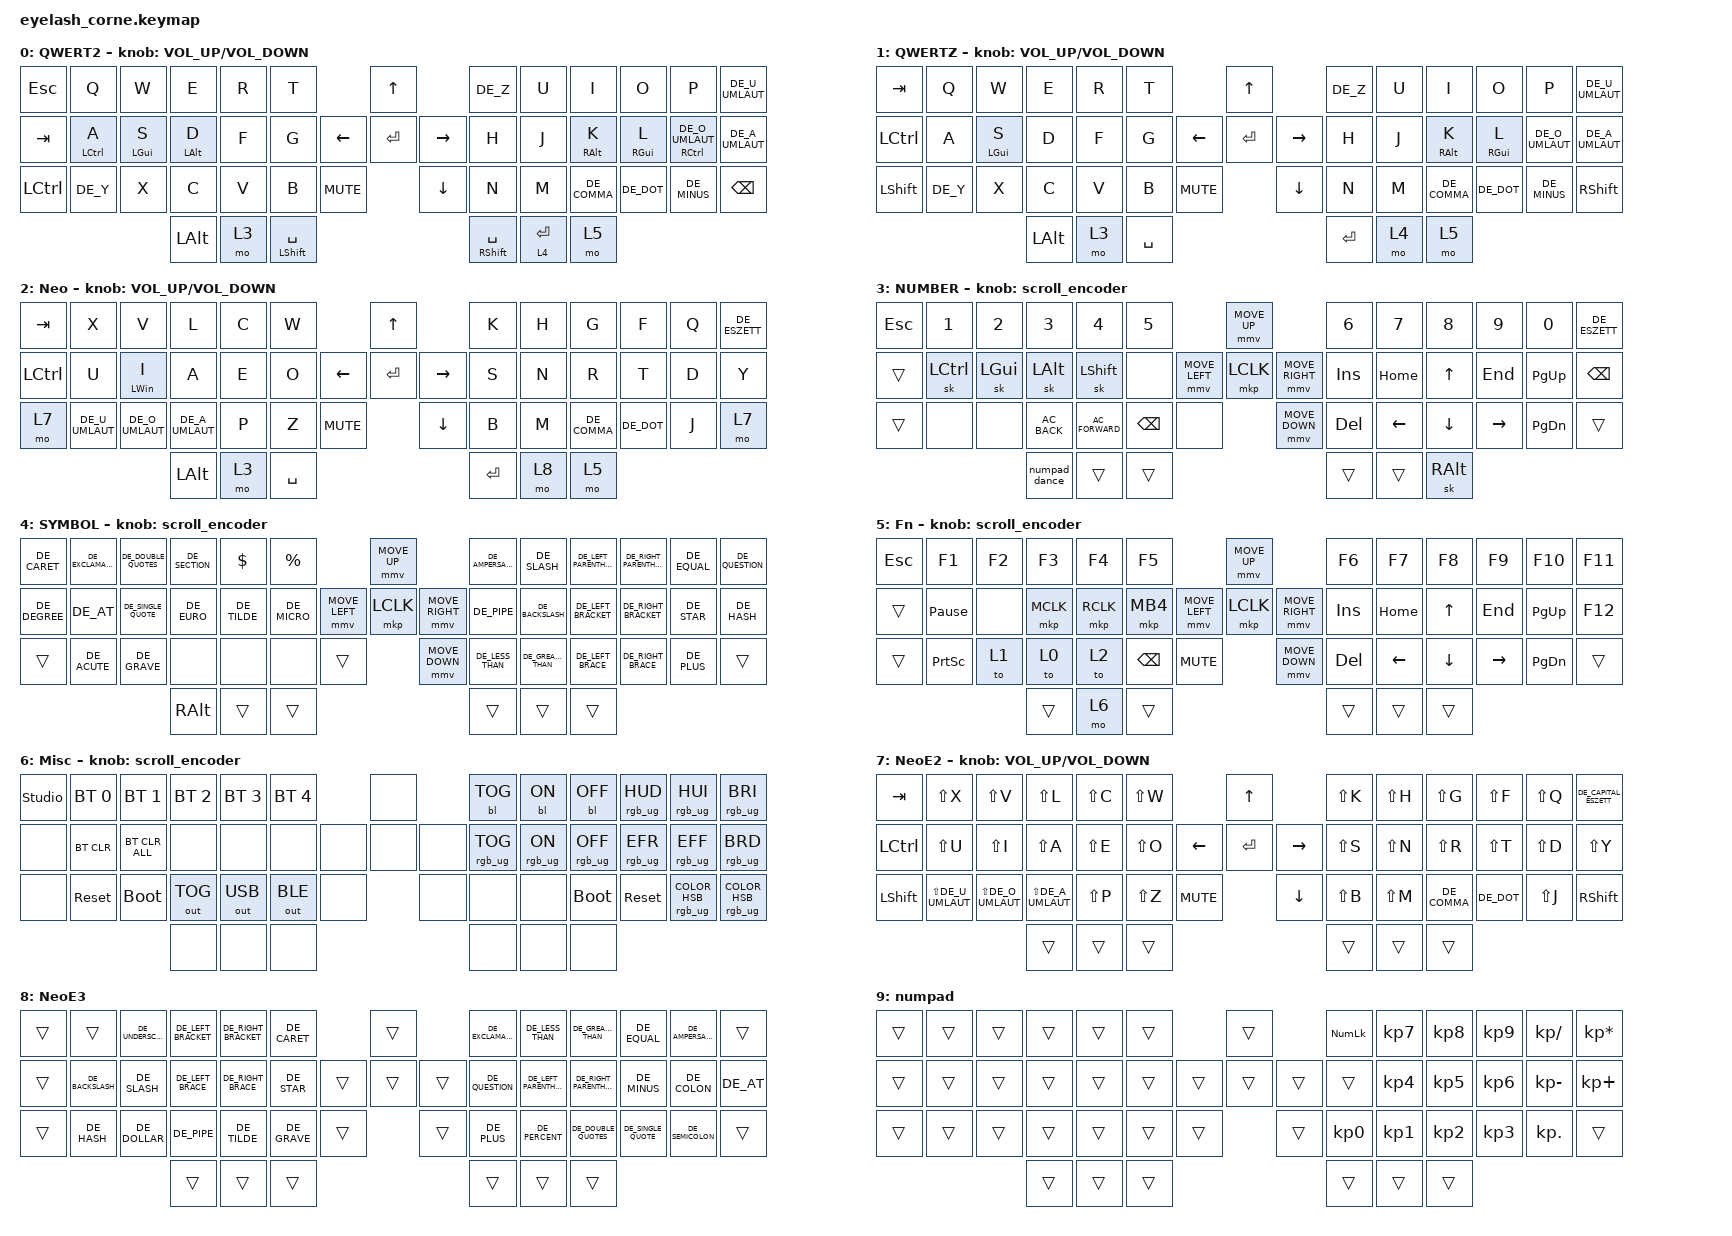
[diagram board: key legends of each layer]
#define ZMK_POINTING_DEFAULT_MOVE_VAL 1200  // 600
#define ZMK_POINTING_DEFAULT_SCRL_VAL 25   // 10

#include <input/processors.dtsi>
#include <zephyr/dt-bindings/input/input-event-codes.h>
#include <behaviors.dtsi>
#include <dt-bindings/zmk/backlight.h>
#include <dt-bindings/zmk/bt.h>
#include <dt-bindings/zmk/keys.h>
#include <dt-bindings/zmk/outputs.h>
#include <dt-bindings/zmk/pointing.h>
#include <dt-bindings/zmk/rgb.h>
#include "keys_de.h"

&mmv_input_listener { input-processors = <&zip_xy_scaler 2 1>; };

&msc_input_listener { input-processors = <&zip_scroll_scaler 2 1>; };

&msc {
    acceleration-exponent = <1>;      // 0
    time-to-max-speed-ms = <100>;       // 300
    delay-ms = <0>;                   // 0
};

&mmv {
    time-to-max-speed-ms = <500>;
    acceleration-exponent = <1>;
    trigger-period-ms = <16>;
};

&soft_off { hold-time-ms = <2000>; };

/ {
    behaviors {
        td0: td0 {
            compatible = "zmk,behavior-tap-dance";
            display-name = "Shift/Caps Lock Tap Dance";
            #binding-cells = <0>;
            bindings = <&kp LEFT_SHIFT>, <&kp CAPS>;
        };

        td_lalt_lgui: td_lalt_lgui {
            compatible = "zmk,behavior-tap-dance";
            display-name = "LALT LGUI Tap Dance";
            label = "TD_LALT_LGUI";
            #binding-cells = <0>;
            tapping-term-ms = <200>;          // Fenster für Doppeltipp
            bindings = <&kp LALT>, <&kp LGUI>;
        };

        // Linke Hand (A S D F …)

        hml: home_row_mod_left {
            compatible = "zmk,behavior-hold-tap";
            #binding-cells = <2>;
            flavor = "tap-preferred";
            tapping-term-ms = <300>;
            quick-tap-ms = <200>;
            require-prior-idle-ms = <125>;
            bindings = <&kp>, <&kp>;

            // Hier alle Key-Positions DER RECHTEN HAND eintragen:

            hold-trigger-key-positions = <15 14>;
            hold-trigger-on-release;
        };

        // Rechte Hand (J K L ; …)

        hmr: home_row_mod_right {
            compatible = "zmk,behavior-hold-tap";
            #binding-cells = <2>;
            flavor = "tap-preferred";
            tapping-term-ms = <300>;
            quick-tap-ms = <200>;
            require-prior-idle-ms = <125>;
            bindings = <&kp>, <&kp>;

            // Hier alle Key-Positions DER LINKEN HAND eintragen:

            hold-trigger-key-positions = <25 24 26>;
            hold-trigger-on-release;
        };

        kp_kp_hold_tap: kp_kp_hold_tap {
            compatible = "zmk,behavior-hold-tap";
            #binding-cells = <2>;
            flavor = "hold-preferred";
            tapping-term-ms = <300>;
            quick-tap-ms = <200>;
            require-prior-idle-ms = <125>;
            bindings = <&kp>, <&kp>;

            hold-trigger-on-release;
            label = "KP_KP_HOLD_TAP";
            hold-trigger-key-positions = <44 45>;
        };

        mo_kp_hold_tap: mo_kp_hold_tap {
            compatible = "zmk,behavior-hold-tap";
            #binding-cells = <2>;
            flavor = "tap-preferred";
            tapping-term-ms = <300>;
            quick-tap-ms = <200>;
            require-prior-idle-ms = <125>;
            bindings = <&mo>, <&kp>;

            hold-trigger-on-release;
            label = "MO_KP_HOLD_TAP";
            hold-trigger-key-positions = <46>;
        };

        numpad_dance: numpad_dance {
            compatible = "zmk,behavior-tap-dance";
            label = "NUMPAD_DANCE";
            #binding-cells = <0>;
            bindings = <&mo 9>, <&tog 9>;
        };
    };

    rgb_encoder: rgb_encoder {
        compatible = "zmk,behavior-sensor-rotate";
        #sensor-binding-cells = <0>;
        bindings = <&rgb_ug RGB_BRI>, <&rgb_ug RGB_BRD>;
    };

    scroll_encoder: scroll_encoder {
        compatible = "zmk,behavior-sensor-rotate";
        #sensor-binding-cells = <0>;
        bindings = <&msc SCRL_DOWN>, <&msc SCRL_UP>;

        tap-ms = <100>;
    };

    combos {
        compatible = "zmk,combos";

        softoff {
            bindings = <&soft_off>;
            key-positions = <1 15 29>;
        };

        esc {
            bindings = <&kp ESC>;
            key-positions = <0 1>;
            layers = <1 3 4 2 7 8>;
        };

        Semicolon {
            bindings = <&kp DE_SEMICOLON>;
            key-positions = <38 37>;
            layers = <1>;
        };

        Backspace {
            bindings = <&kp BACKSPACE>;
            key-positions = <11 12>;
            layers = <1 3 4 2 7 8>;
        };

        DoubleColon {
            bindings = <&kp DE_COLON>;
            key-positions = <39 38>;
            layers = <1>;
        };

        layer3 {
            bindings = <&sl 5>;
            key-positions = <43 44>;
            layers = <1>;
        };

        underscore {
            bindings = <&kp DE_UNDERSCORE>;
            key-positions = <39 40>;
            layers = <1>;
        };
    };

    keymap {
        compatible = "zmk,keymap";

        QWERTZ2 {
            label = "QWERTZ2";
            display-name = "QWERT2";
            bindings = <
&kp ESCAPE        &kp Q                &kp W            &kp E            &kp R  &kp T                                                     &kp UP                &kp DE_Z                           &kp U                    &kp I             &kp O             &kp P                           &kp DE_U_UMLAUT
&kp TAB           &hml LEFT_CONTROL A  &hml LEFT_GUI S  &hml LEFT_ALT D  &kp F  &kp G                                           &kp LEFT  &kp ENTER  &kp RIGHT  &kp H                              &kp J                    &hmr RIGHT_ALT K  &hmr RIGHT_GUI L  &hmr RIGHT_CONTROL DE_O_UMLAUT  &kp DE_A_UMLAUT
&kp LEFT_CONTROL  &kp DE_Y             &kp X            &kp C            &kp V  &kp B                             &kp C_MUTE              &kp DOWN              &kp N                              &kp M                    &kp DE_COMMA      &kp DE_DOT        &kp DE_MINUS                    &kp BACKSPACE
                                                        &kp LEFT_ALT     &mo 3  &kp_kp_hold_tap LEFT_SHIFT SPACE                                                &kp_kp_hold_tap RIGHT_SHIFT SPACE  &mo_kp_hold_tap 4 ENTER  &mo 5
            >;

            sensor-bindings = <&inc_dec_kp C_VOLUME_UP C_VOLUME_DOWN>;
        };

        QWERTZ {
            display-name = "QWERTZ";
            bindings = <
&kp TAB           &kp Q     &kp W            &kp E         &kp R  &kp T                              &kp UP                &kp DE_Z    &kp U  &kp I             &kp O             &kp P            &kp DE_U_UMLAUT
&kp LEFT_CONTROL  &kp A     &hml LEFT_GUI S  &kp D         &kp F  &kp G                    &kp LEFT  &kp ENTER  &kp RIGHT  &kp H       &kp J  &hmr RIGHT_ALT K  &hmr RIGHT_GUI L  &kp DE_O_UMLAUT  &kp DE_A_UMLAUT
&kp LEFT_SHIFT    &kp DE_Y  &kp X            &kp C         &kp V  &kp B      &kp C_MUTE              &kp DOWN              &kp N       &kp M  &kp DE_COMMA      &kp DE_DOT        &kp DE_MINUS     &kp RIGHT_SHIFT
                                             &kp LEFT_ALT  &mo 3  &kp SPACE                                                &kp RETURN  &mo 4  &mo 5
            >;

            sensor-bindings = <&inc_dec_kp C_VOLUME_UP C_VOLUME_DOWN>;
            label = "QWERTZ";
        };

        Neo {
            label = "Neo";
            display-name = "Neo";
            bindings = <
&kp TAB           &kp X            &kp V            &kp L            &kp C  &kp W                              &kp UP               &kp K       &kp H  &kp G         &kp F       &kp Q  &kp DE_ESZETT
&kp LEFT_CONTROL  &kp U            &hml LEFT_WIN I  &kp A            &kp E  &kp O                    &kp LEFT  &kp RET   &kp RIGHT  &kp S       &kp N  &kp R         &kp T       &kp D  &kp Y
&mo 7             &kp DE_U_UMLAUT  &kp DE_O_UMLAUT  &kp DE_A_UMLAUT  &kp P  &kp Z      &kp C_MUTE              &kp DOWN             &kp B       &kp M  &kp DE_COMMA  &kp DE_DOT  &kp J  &mo 7
                                                    &kp LEFT_ALT     &mo 3  &kp SPACE                                               &kp RETURN  &mo 8  &mo 5
            >;

            sensor-bindings = <&inc_dec_kp C_VOLUME_UP C_VOLUME_DOWN>;
        };

        winnum {
            display-name = "NUMBER";
            bindings = <
&kp ESCAPE  &kp N1            &kp N2    &kp N3         &kp N4            &kp N5                                  &mmv MOVE_UP                     &kp N6   &kp N7          &kp N8          &kp N9           &kp N0         &kp DE_ESZETT
&trans      &sk LEFT_CONTROL  &sk LGUI  &sk LEFT_ALT   &sk LEFT_SHIFT    &none                   &mmv MOVE_LEFT  &mkp LCLK       &mmv MOVE_RIGHT  &kp INS  &kp HOME        &kp UP_ARROW    &kp END          &kp PAGE_UP    &kp BACKSPACE
&trans      &none             &none     &kp C_AC_BACK  &kp C_AC_FORWARD  &kp BACKSPACE  &none                    &mmv MOVE_DOWN                   &kp DEL  &kp LEFT_ARROW  &kp DOWN_ARROW  &kp RIGHT_ARROW  &kp PAGE_DOWN  &trans
                                        &numpad_dance  &trans            &trans                                                                   &trans   &trans          &sk RIGHT_ALT
            >;

            sensor-bindings = <&scroll_encoder>;
            label = "Numbers";
        };

        winsym {
            display-name = "SYMBOL";
            bindings = <
&kp DE_CARET   &kp DE_EXCLAMATION  &kp DE_DOUBLE_QUOTES  &kp DE_SECTION  &kp DLLR      &kp PRCNT                               &mmv MOVE_UP                     &kp DE_AMPERSAND  &kp DE_SLASH         &kp DE_LEFT_PARENTHESIS  &kp DE_RIGHT_PARENTHESIS  &kp DE_EQUAL  &kp DE_QUESTION
&kp DE_DEGREE  &kp DE_AT           &kp DE_SINGLE_QUOTE   &kp DE_EURO     &kp DE_TILDE  &kp DE_MICRO            &mmv MOVE_LEFT  &mkp LCLK       &mmv MOVE_RIGHT  &kp DE_PIPE       &kp DE_BACKSLASH     &kp DE_LEFT_BRACKET      &kp DE_RIGHT_BRACKET      &kp DE_STAR   &kp DE_HASH
&trans         &kp DE_ACUTE        &kp DE_GRAVE          &none           &none         &none         &trans                    &mmv MOVE_DOWN                   &kp DE_LESS_THAN  &kp DE_GREATER_THAN  &kp DE_LEFT_BRACE        &kp DE_RIGHT_BRACE        &kp DE_PLUS   &trans
                                                         &kp RIGHT_ALT   &trans        &trans                                                                   &trans            &trans               &trans
            >;

            sensor-bindings = <&scroll_encoder>;
            label = "Symbols";
        };

        winfn {
            display-name = "Fn";
            bindings = <
&kp ESC  &kp F1           &kp F2  &kp F3     &kp F4     &kp F5                                       &mmv MOVE_UP                     &kp F6      &kp F7          &kp F8          &kp F9           &kp F10        &kp F11
&trans   &kp PAUSE_BREAK  &none   &mkp MCLK  &mkp RCLK  &mkp MB4                     &mmv MOVE_LEFT  &mkp LCLK       &mmv MOVE_RIGHT  &kp INSERT  &kp HOME        &kp UP_ARROW    &kp END          &kp PAGE_UP    &kp F12
&trans   &kp PRINTSCREEN  &to 1   &to 0      &to 2      &kp BACKSPACE  &kp C_MUTE                    &mmv MOVE_DOWN                   &kp DELETE  &kp LEFT_ARROW  &kp DOWN_ARROW  &kp RIGHT_ARROW  &kp PAGE_DOWN  &trans
                                  &trans     &mo 6      &trans                                                                        &trans      &trans          &trans
            >;

            sensor-bindings = <&scroll_encoder>;
        };

        Misc {
            display-name = "Misc";
            bindings = <
&studio_unlock  &bt BT_SEL 0  &bt BT_SEL 1    &bt BT_SEL 2  &bt BT_SEL 3  &bt BT_SEL 4                  &none         &bl BL_TOG       &bl BL_ON       &bl BL_OFF       &rgb_ug RGB_HUD  &rgb_ug RGB_HUI                   &rgb_ug RGB_BRI
&none           &bt BT_CLR    &bt BT_CLR_ALL  &none         &none         &none                  &none  &none  &none  &rgb_ug RGB_TOG  &rgb_ug RGB_ON  &rgb_ug RGB_OFF  &rgb_ug RGB_EFR  &rgb_ug RGB_EFF                   &rgb_ug RGB_BRD
&none           &sys_reset    &bootloader     &out OUT_TOG  &out OUT_USB  &out OUT_BLE  &none           &none         &none            &none           &bootloader      &sys_reset       &rgb_ug RGB_COLOR_HSB(231,38,46)  &rgb_ug RGB_COLOR_HSB(0,100,40)
                                              &none         &none         &none                                       &none            &none           &none
            >;

            sensor-bindings = <&scroll_encoder>;
            label = "Misc";
        };

        NeoE2 {
            label = "NeoE2";
            display-name = "NeoE2";
            bindings = <
&kp TAB           &kp LS(X)            &kp LS(V)            &kp LS(L)            &kp LS(C)  &kp LS(W)                          &kp UP               &kp LS(K)  &kp LS(H)  &kp LS(G)     &kp LS(F)   &kp LS(Q)  &kp DE_CAPITAL_ESZETT
&kp LEFT_CONTROL  &kp LS(U)            &kp LS(I)            &kp LS(A)            &kp LS(E)  &kp LS(O)                &kp LEFT  &kp RET   &kp RIGHT  &kp LS(S)  &kp LS(N)  &kp LS(R)     &kp LS(T)   &kp LS(D)  &kp LS(Y)
&kp LEFT_SHIFT    &kp LS(DE_U_UMLAUT)  &kp LS(DE_O_UMLAUT)  &kp LS(DE_A_UMLAUT)  &kp LS(P)  &kp LS(Z)  &kp C_MUTE              &kp DOWN             &kp LS(B)  &kp LS(M)  &kp DE_COMMA  &kp DE_DOT  &kp LS(J)  &kp RIGHT_SHIFT
                                                            &trans               &trans     &trans                                                  &trans     &trans     &trans
            >;

            sensor-bindings = <&inc_dec_kp C_VOLUME_UP C_VOLUME_DOWN>;
        };

        NeoE3 {
            label = "NeoE3";
            display-name = "NeoE3";
            bindings = <
&trans  &trans            &kp DE_UNDERSCORE  &kp DE_LEFT_BRACKET  &kp DE_RIGHT_BRACKET  &kp DE_CARET                    &trans          &kp DE_EXCLAMATION  &kp DE_LESS_THAN         &kp DE_GREATER_THAN       &kp DE_EQUAL         &kp DE_AMPERSAND  &trans
&trans  &kp DE_BACKSLASH  &kp DE_SLASH       &kp DE_LEFT_BRACE    &kp DE_RIGHT_BRACE    &kp DE_STAR             &trans  &trans  &trans  &kp DE_QUESTION     &kp DE_LEFT_PARENTHESIS  &kp DE_RIGHT_PARENTHESIS  &kp DE_MINUS         &kp DE_COLON      &kp DE_AT
&trans  &kp DE_HASH       &kp DE_DOLLAR      &kp DE_PIPE          &kp DE_TILDE          &kp DE_GRAVE  &trans            &trans          &kp DE_PLUS         &kp DE_PERCENT           &kp DE_DOUBLE_QUOTES      &kp DE_SINGLE_QUOTE  &kp DE_SEMICOLON  &trans
                                             &trans               &trans                &trans                                          &trans              &trans                   &trans
            >;
        };

        numpad {
            bindings = <
&trans  &trans  &trans  &trans  &trans  &trans                    &trans          &kp KP_NUMLOCK   &kp KP_NUMBER_7  &kp KP_NUMBER_8  &kp KP_NUMBER_9  &kp KP_DIVIDE    &kp KP_MULTIPLY
&trans  &trans  &trans  &trans  &trans  &trans            &trans  &trans  &trans  &trans           &kp KP_NUMBER_4  &kp KP_NUMBER_5  &kp KP_NUMBER_6  &kp KP_SUBTRACT  &kp KP_PLUS
&trans  &trans  &trans  &trans  &trans  &trans  &trans            &trans          &kp KP_NUMBER_0  &kp KP_NUMBER_1  &kp KP_NUMBER_2  &kp KP_NUMBER_3  &kp KP_DOT       &trans
                        &trans  &trans  &trans                                    &trans           &trans           &trans
            >;

            label = "numpad";
        };
    };
};
